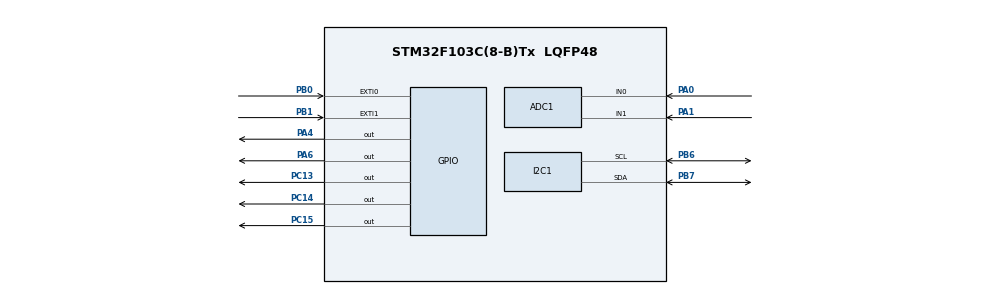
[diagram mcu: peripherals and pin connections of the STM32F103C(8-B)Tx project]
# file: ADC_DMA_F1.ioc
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ADC1.Channel-0\#ChannelRegularConversion=ADC_CHANNEL_0
ADC1.Channel-1\#ChannelRegularConversion=ADC_CHANNEL_1
ADC1.NbrOfConversion=2
ADC1.NbrOfConversionFlag=1
ADC1.Rank-0\#ChannelRegularConversion=1
ADC1.Rank-1\#ChannelRegularConversion=2
ADC1.SamplingTime-0\#ChannelRegularConversion=ADC_SAMPLETIME_1CYCLE_5
ADC1.SamplingTime-1\#ChannelRegularConversion=ADC_SAMPLETIME_1CYCLE_5
ADC1.master=1
Dma.ADC1.0.Direction=DMA_PERIPH_TO_MEMORY
Dma.ADC1.0.Instance=DMA1_Channel1
Dma.ADC1.0.MemDataAlignment=DMA_MDATAALIGN_HALFWORD
Dma.ADC1.0.MemInc=DMA_MINC_ENABLE
Dma.ADC1.0.Mode=DMA_CIRCULAR
Dma.ADC1.0.PeriphDataAlignment=DMA_PDATAALIGN_HALFWORD
Dma.ADC1.0.PeriphInc=DMA_PINC_DISABLE
Dma.ADC1.0.Priority=DMA_PRIORITY_LOW
Dma.Request0=ADC1
Mcu.Family=STM32F1
Mcu.Name=STM32F103C(8-B)Tx
Mcu.Package=LQFP48
NVIC.DMA1_Channel1_IRQn=true\:0\:0\:false\:false\:true\:false\:true
NVIC.EXTI0_IRQn=true\:2\:0\:true\:false\:true\:true\:true
NVIC.EXTI1_IRQn=true\:1\:0\:true\:false\:true\:true\:true
NVIC.PriorityGroup=NVIC_PRIORITYGROUP_4
PA0-WKUP.Signal=ADCx_IN0
PA1.Signal=ADCx_IN1
PA13.Mode=Serial_Wire
PA13.Signal=SYS_JTMS-SWDIO
PA14.Mode=Serial_Wire
PA14.Signal=SYS_JTCK-SWCLK
PA4.Signal=GPIO_Output
PA6.Signal=GPIO_Output
PB0.Signal=GPXTI0
PB1.Signal=GPXTI1
PB6.Mode=I2C
PB6.Signal=I2C1_SCL
PB7.Mode=I2C
PB7.Signal=I2C1_SDA
PC13-TAMPER-RTC.Signal=GPIO_Output
PC14-OSC32_IN.Signal=GPIO_Output
PC15-OSC32_OUT.Signal=GPIO_Output
PD0-OSC_IN.Mode=HSE-External-Oscillator
PD0-OSC_IN.Signal=RCC_OSC_IN
PD1-OSC_OUT.Mode=HSE-External-Oscillator
PD1-OSC_OUT.Signal=RCC_OSC_OUT
ProjectManager.HeapSize=0x200
ProjectManager.StackSize=0x400
ProjectManager.TargetToolchain=STM32CubeIDE
RCC.APB1Freq_Value=8000000
RCC.APB2Freq_Value=8000000
RCC.SYSCLKSource=RCC_SYSCLKSOURCE_HSE
SH.ADCx_IN0.0=ADC1_IN0,IN0
SH.ADCx_IN1.0=ADC1_IN1,IN1
TIM1.Period=4999
TIM1.Prescaler=7999
VP_TIM1_VS_ClockSourceINT.Mode=Internal
board=custom

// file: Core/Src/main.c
/* USER CODE BEGIN Header */
/**
  ******************************************************************************
  * @file           : main.c
  * @brief          : Main program body
  ******************************************************************************
  * @attention
  *
  * <h2><center>&copy; Copyright (c) 2021 STMicroelectronics.
  * All rights reserved.</center></h2>
  *
  * This software component is licensed by ST under BSD 3-Clause license,
  * the "License"; You may not use this file except in compliance with the
  * License. You may obtain a copy of the License at:
  *                        opensource.org/licenses/BSD-3-Clause
  *
  ******************************************************************************
  */
/* USER CODE END Header */
#include "main.h"

/* USER CODE BEGIN Includes */
#include "stdio.h"
#include "i2c-lcd.h"
/* USER CODE END Includes */

ADC_HandleTypeDef hadc1;
DMA_HandleTypeDef hdma_adc1;

I2C_HandleTypeDef hi2c1;

TIM_HandleTypeDef htim1;

void SystemClock_Config(void);
static void MX_GPIO_Init(void);
static void MX_DMA_Init(void);
static void MX_ADC1_Init(void);
static void MX_I2C1_Init(void);
static void MX_TIM1_Init(void);

/* USER CODE BEGIN 0 */
uint16_t data[2];
uint16_t gas;
float temp;
char var[14];

/* USER CODE END 0 */

int main(void)
{

  /* MCU Configuration--------------------------------------------------------*/

  /* Reset of all peripherals, Initializes the Flash interface and the Systick. */
  HAL_Init();

  /* Configure the system clock */
  SystemClock_Config();

  /* Initialize all configured peripherals */
  MX_GPIO_Init();
  MX_DMA_Init();
  MX_ADC1_Init();
  MX_I2C1_Init();
  MX_TIM1_Init();
  /* USER CODE BEGIN 2 */
  lcd_init();
  lcd_goto_XY(1, 0);
  lcd_send_string("INF:");
  HAL_Delay(50);
  lcd_goto_XY(2, 0);
  lcd_send_string("TEMP:");

  /* USER CODE END 2 */

  /* Infinite loop */
  /* USER CODE BEGIN WHILE */
  while (1)
  {
	  HAL_ADC_Start_DMA(&hadc1, (uint32_t*)data, 2);
	  HAL_Delay(100);
	  HAL_ADC_Stop_DMA(&hadc1);
	  temp = (data[0]*322)/4096;
	  if(data[1]>3300){
		  gas=1;
	  }
	  else gas=0;
	  sprintf(var,"%.2f *C",temp);
	  lcd_goto_XY(2, 8);
	  lcd_send_string(var);
    /* USER CODE END WHILE */

  }
}

void SystemClock_Config(void)
{
  RCC_OscInitTypeDef RCC_OscInitStruct = {0};
  RCC_ClkInitTypeDef RCC_ClkInitStruct = {0};
  RCC_PeriphCLKInitTypeDef PeriphClkInit = {0};

  /** Initializes the RCC Oscillators according to the specified parameters
  * in the RCC_OscInitTypeDef structure.
  */
  RCC_OscInitStruct.OscillatorType = RCC_OSCILLATORTYPE_HSE;
  RCC_OscInitStruct.HSEState = RCC_HSE_ON;
  RCC_OscInitStruct.PLL.PLLState = RCC_PLL_NONE;
  if (HAL_RCC_OscConfig(&RCC_OscInitStruct) != HAL_OK)
  {
    Error_Handler();
  }
  /** Initializes the CPU, AHB and APB buses clocks
  */
  RCC_ClkInitStruct.ClockType = RCC_CLOCKTYPE_HCLK|RCC_CLOCKTYPE_SYSCLK
                              |RCC_CLOCKTYPE_PCLK1|RCC_CLOCKTYPE_PCLK2;
  RCC_ClkInitStruct.SYSCLKSource = RCC_SYSCLKSOURCE_HSE;
  RCC_ClkInitStruct.AHBCLKDivider = RCC_SYSCLK_DIV1;
  RCC_ClkInitStruct.APB1CLKDivider = RCC_HCLK_DIV1;
  RCC_ClkInitStruct.APB2CLKDivider = RCC_HCLK_DIV1;

  if (HAL_RCC_ClockConfig(&RCC_ClkInitStruct, FLASH_LATENCY_0) != HAL_OK)
  {
    Error_Handler();
  }
  PeriphClkInit.PeriphClockSelection = RCC_PERIPHCLK_ADC;
  PeriphClkInit.AdcClockSelection = RCC_ADCPCLK2_DIV2;
  if (HAL_RCCEx_PeriphCLKConfig(&PeriphClkInit) != HAL_OK)
  {
    Error_Handler();
  }
}

static void MX_ADC1_Init(void)
{

  ADC_ChannelConfTypeDef sConfig = {0};

  /** Common config
  */
  hadc1.Instance = ADC1;
  hadc1.Init.ScanConvMode = ADC_SCAN_ENABLE;
  hadc1.Init.ContinuousConvMode = DISABLE;
  hadc1.Init.DiscontinuousConvMode = DISABLE;
  hadc1.Init.ExternalTrigConv = ADC_SOFTWARE_START;
  hadc1.Init.DataAlign = ADC_DATAALIGN_RIGHT;
  hadc1.Init.NbrOfConversion = 2;
  if (HAL_ADC_Init(&hadc1) != HAL_OK)
  {
    Error_Handler();
  }
  /** Configure Regular Channel
  */
  sConfig.Channel = ADC_CHANNEL_0;
  sConfig.Rank = ADC_REGULAR_RANK_1;
  sConfig.SamplingTime = ADC_SAMPLETIME_1CYCLE_5;
  if (HAL_ADC_ConfigChannel(&hadc1, &sConfig) != HAL_OK)
  {
    Error_Handler();
  }
  /** Configure Regular Channel
  */
  sConfig.Channel = ADC_CHANNEL_1;
  sConfig.Rank = ADC_REGULAR_RANK_2;
  if (HAL_ADC_ConfigChannel(&hadc1, &sConfig) != HAL_OK)
  {
    Error_Handler();
  }

}

static void MX_I2C1_Init(void)
{

  hi2c1.Instance = I2C1;
  hi2c1.Init.ClockSpeed = 100000;
  hi2c1.Init.DutyCycle = I2C_DUTYCYCLE_2;
  hi2c1.Init.OwnAddress1 = 0;
  hi2c1.Init.AddressingMode = I2C_ADDRESSINGMODE_7BIT;
  hi2c1.Init.DualAddressMode = I2C_DUALADDRESS_DISABLE;
  hi2c1.Init.OwnAddress2 = 0;
  hi2c1.Init.GeneralCallMode = I2C_GENERALCALL_DISABLE;
  hi2c1.Init.NoStretchMode = I2C_NOSTRETCH_DISABLE;
  if (HAL_I2C_Init(&hi2c1) != HAL_OK)
  {
    Error_Handler();
  }

}

static void MX_TIM1_Init(void)
{

  TIM_ClockConfigTypeDef sClockSourceConfig = {0};
  TIM_MasterConfigTypeDef sMasterConfig = {0};

  htim1.Instance = TIM1;
  htim1.Init.Prescaler = 7999;
  htim1.Init.CounterMode = TIM_COUNTERMODE_UP;
  htim1.Init.Period = 4999;
  htim1.Init.ClockDivision = TIM_CLOCKDIVISION_DIV1;
  htim1.Init.RepetitionCounter = 0;
  htim1.Init.AutoReloadPreload = TIM_AUTORELOAD_PRELOAD_DISABLE;
  if (HAL_TIM_Base_Init(&htim1) != HAL_OK)
  {
    Error_Handler();
  }
  sClockSourceConfig.ClockSource = TIM_CLOCKSOURCE_INTERNAL;
  if (HAL_TIM_ConfigClockSource(&htim1, &sClockSourceConfig) != HAL_OK)
  {
    Error_Handler();
  }
  sMasterConfig.MasterOutputTrigger = TIM_TRGO_RESET;
  sMasterConfig.MasterSlaveMode = TIM_MASTERSLAVEMODE_DISABLE;
  if (HAL_TIMEx_MasterConfigSynchronization(&htim1, &sMasterConfig) != HAL_OK)
  {
    Error_Handler();
  }

}

static void MX_DMA_Init(void)
{

  /* DMA controller clock enable */
  __HAL_RCC_DMA1_CLK_ENABLE();

  /* DMA interrupt init */
  /* DMA1_Channel1_IRQn interrupt configuration */
  HAL_NVIC_SetPriority(DMA1_Channel1_IRQn, 0, 0);
  HAL_NVIC_EnableIRQ(DMA1_Channel1_IRQn);

}

static void MX_GPIO_Init(void)
{
  GPIO_InitTypeDef GPIO_InitStruct = {0};

  /* GPIO Ports Clock Enable */
  __HAL_RCC_GPIOC_CLK_ENABLE();
  __HAL_RCC_GPIOD_CLK_ENABLE();
  __HAL_RCC_GPIOA_CLK_ENABLE();
  __HAL_RCC_GPIOB_CLK_ENABLE();

  /*Configure GPIO pin Output Level */
  HAL_GPIO_WritePin(GPIOC, GPIO_PIN_13|GPIO_PIN_14|GPIO_PIN_15, GPIO_PIN_RESET);

  /*Configure GPIO pin Output Level */
  HAL_GPIO_WritePin(GPIOA, GPIO_PIN_4|GPIO_PIN_6, GPIO_PIN_RESET);

  /*Configure GPIO pins : PC13 PC14 PC15 */
  GPIO_InitStruct.Pin = GPIO_PIN_13|GPIO_PIN_14|GPIO_PIN_15;
  GPIO_InitStruct.Mode = GPIO_MODE_OUTPUT_PP;
  GPIO_InitStruct.Pull = GPIO_NOPULL;
  GPIO_InitStruct.Speed = GPIO_SPEED_FREQ_LOW;
  HAL_GPIO_Init(GPIOC, &GPIO_InitStruct);

  /*Configure GPIO pins : PA4 PA6 */
  GPIO_InitStruct.Pin = GPIO_PIN_4|GPIO_PIN_6;
  GPIO_InitStruct.Mode = GPIO_MODE_OUTPUT_PP;
  GPIO_InitStruct.Pull = GPIO_NOPULL;
  GPIO_InitStruct.Speed = GPIO_SPEED_FREQ_LOW;
  HAL_GPIO_Init(GPIOA, &GPIO_InitStruct);

  /*Configure GPIO pins : PB0 PB1 */
  GPIO_InitStruct.Pin = GPIO_PIN_0|GPIO_PIN_1;
  GPIO_InitStruct.Mode = GPIO_MODE_IT_RISING;
  GPIO_InitStruct.Pull = GPIO_NOPULL;
  HAL_GPIO_Init(GPIOB, &GPIO_InitStruct);

  /* EXTI interrupt init*/
  HAL_NVIC_SetPriority(EXTI0_IRQn, 2, 0);
  HAL_NVIC_EnableIRQ(EXTI0_IRQn);

  HAL_NVIC_SetPriority(EXTI1_IRQn, 1, 0);
  HAL_NVIC_EnableIRQ(EXTI1_IRQn);

}

void Error_Handler(void)
{
  __disable_irq();
  while (1)
  {
  }
}

/************************ (C) COPYRIGHT STMicroelectronics *****END OF FILE****/
